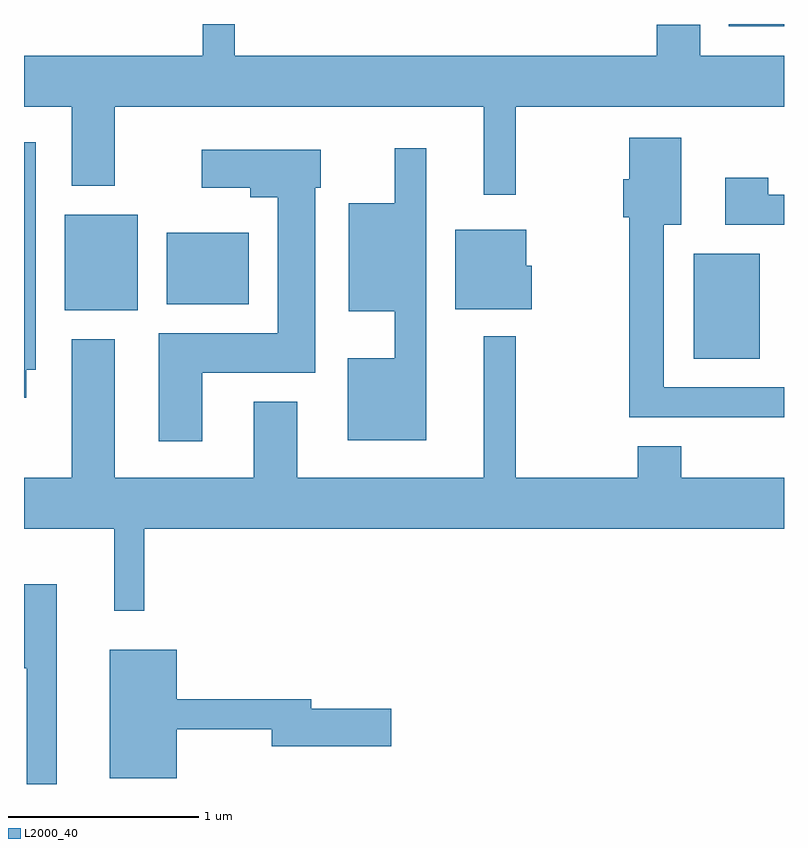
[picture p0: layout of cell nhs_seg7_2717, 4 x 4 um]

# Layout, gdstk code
import gdstk
lib = gdstk.Library(unit=1e-6, precision=1e-09)
def R(c, l, rs):  # rectangles x0, y0, x1, y1
    for r in rs: c.add(gdstk.rectangle(r[:2], r[2:], *l))
def P(c, l, *ps):  # polygons
    for p in ps: c.add(gdstk.Polygon(p, *l))
L2000_40 = (2000, 40)

nhs_seg7_2717 = lib.new_cell('nhs_seg7_2717')
R(nhs_seg7_2717, L2000_40, [(271.136,1768.491,271.484,1769.044), (267.826,1768.746,268.209,1769.249), (268.361,1768.776,268.794,1769.154), (271.321,1770.241,271.611,1770.252)])
P(nhs_seg7_2717, L2000_40, [(270.199,1769.816),(271.611,1769.816),(271.611,1770.084),(271.169,1770.084),(271.169,1770.249),(270.941,1770.249),(270.941,1770.084),(268.719,1770.084),(268.719,1770.252),(268.551,1770.252),(268.551,1770.084),(267.611,1770.084),(267.611,1769.816),(267.861,1769.816),(267.861,1769.401),(268.089,1769.401),(268.089,1769.816),(270.031,1769.816),(270.031,1769.353),(270.199,1769.353)],
  [(271.611,1768.339),(270.979,1768.339),(270.979,1769.196),(271.069,1769.196),(271.069,1769.654),(270.796,1769.654),(270.796,1769.434),(270.766,1769.434),(270.766,1769.236),(270.796,1769.236),(270.796,1768.181),(271.611,1768.181)],
  [(267.624,1768.431),(267.674,1768.431),(267.674,1769.629),(267.611,1769.629),(267.611,1768.286),(267.624,1768.286)],
  [(269.729,1769.598),(269.561,1769.598),(269.561,1769.309),(269.321,1769.309),(269.321,1768.741),(269.561,1768.741),(269.561,1768.494),(269.316,1768.494),(269.316,1768.061),(269.729,1768.061)],
  [(268.549,1768.416),(269.144,1768.416),(269.144,1769.391),(269.174,1769.391),(269.174,1769.589),(268.546,1769.589),(268.546,1769.391),(268.801,1769.391),(268.801,1769.341),(268.946,1769.341),(268.946,1768.624),(268.321,1768.624),(268.321,1768.056),(268.549,1768.056)],
  [(271.611,1769.354),(271.529,1769.354),(271.529,1769.444),(271.301,1769.444),(271.301,1769.196),(271.611,1769.196)],
  [(270.284,1768.979),(270.254,1768.979),(270.254,1769.169),(269.881,1769.169),(269.881,1768.751),(270.284,1768.751)],
  [(268.244,1767.596),(271.611,1767.596),(271.611,1767.864),(271.069,1767.864),(271.069,1768.029),(270.841,1768.029),(270.841,1767.864),(270.199,1767.864),(270.199,1768.608),(270.031,1768.608),(270.031,1767.864),(269.049,1767.864),(269.049,1768.264),(268.821,1768.264),(268.821,1767.864),(268.089,1767.864),(268.089,1768.594),(267.861,1768.594),(267.861,1767.864),(267.611,1767.864),(267.611,1767.596),(268.086,1767.596),(268.086,1767.163),(268.244,1767.163)],
  [(267.784,1767.304),(267.611,1767.304),(267.611,1766.861),(267.626,1766.861),(267.626,1766.252),(267.784,1766.252)],
  [(268.414,1766.541),(268.916,1766.541),(268.916,1766.451),(269.544,1766.451),(269.544,1766.649),(269.124,1766.649),(269.124,1766.699),(268.414,1766.699),(268.414,1766.959),(268.061,1766.959),(268.061,1766.281),(268.414,1766.281)])

lib.write_gds('nhs_seg7_2717.gds')
